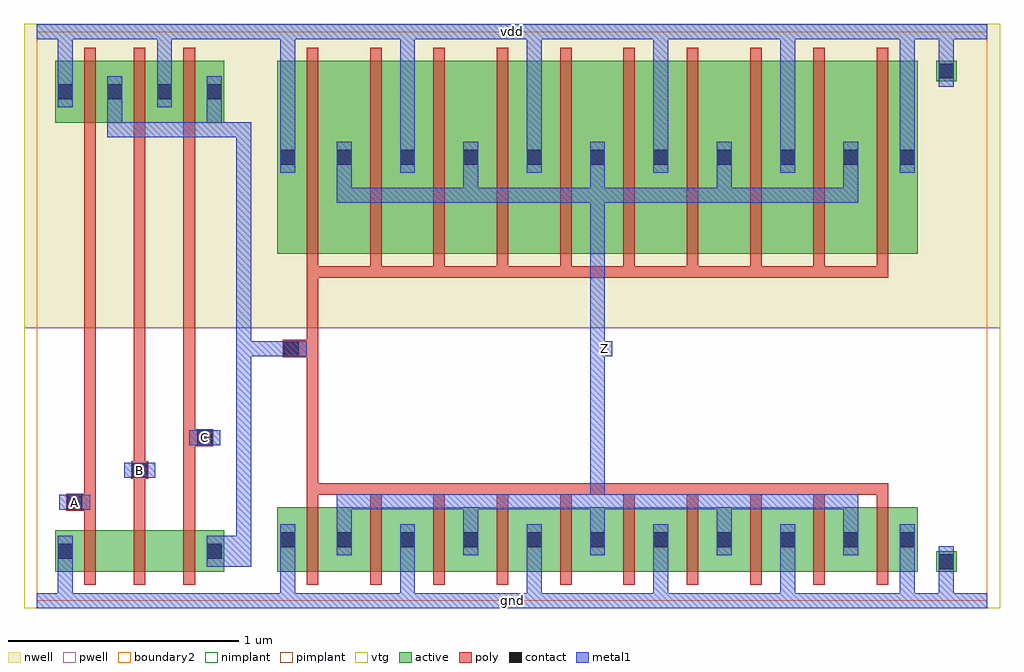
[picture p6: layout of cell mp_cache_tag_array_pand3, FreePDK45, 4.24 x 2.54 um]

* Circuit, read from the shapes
.subckt mp_cache_tag_array_pand3 A B C Z gnd vdd
M1 mp_cache_tag_array_pnand3_0_0/mp_cache_tag_array_nmos_m1_w0_180_sm1_dactive_3/D A gnd gnd nfet w=0.18u l=0.05u
M2 mp_cache_tag_array_pnand3_0_0/mp_cache_tag_array_nmos_m1_w0_180_sactive_dactive_4/D B mp_cache_tag_array_pnand3_0_0/mp_cache_tag_array_nmos_m1_w0_180_sm1_dactive_3/D gnd nfet w=0.18u l=0.05u
M3 mp_cache_tag_array_pdriver_2_1/A C mp_cache_tag_array_pnand3_0_0/mp_cache_tag_array_nmos_m1_w0_180_sactive_dactive_4/D gnd nfet w=0.18u l=0.05u
M4 Z mp_cache_tag_array_pdriver_2_1/A gnd gnd nfet w=0.28u l=0.05u m=10
M5 mp_cache_tag_array_pdriver_2_1/A A vdd vdd pfet w=0.27u l=0.05u
M6 vdd B mp_cache_tag_array_pdriver_2_1/A vdd pfet w=0.27u l=0.05u
M7 mp_cache_tag_array_pdriver_2_1/A C vdd vdd pfet w=0.27u l=0.05u
M8 Z mp_cache_tag_array_pdriver_2_1/A vdd vdd pfet w=0.8375u l=0.05u m=10
.ends

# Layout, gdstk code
import gdstk
lib = gdstk.Library(unit=1e-6, precision=5e-10)
def R(c, l, rs):  # rectangles x0, y0, x1, y1
    for r in rs: c.add(gdstk.rectangle(r[:2], r[2:], *l))
def A(c, l, x, y, w, h, nx, ny, dx, dy):  # array of equal rectangles
    R(c, l, [(x+i*dx, y+j*dy, x+i*dx+w, y+j*dy+h) for i in range(nx) for j in range(ny)])
active = (1, 0)
pwell = (2, 0)
nwell = (3, 0)
nimplant = (4, 0)
pimplant = (5, 0)
vtg = (6, 0)
poly = (9, 0)
contact = (10, 0)
metal1 = (11, 0)
boundary2 = (239, 0)

mp_cache_tag_array_conta = lib.new_cell('mp_cache_tag_array_contact_11')
R(mp_cache_tag_array_conta, active, [(0,0.0225,0.09,0.1125)])
R(mp_cache_tag_array_conta, nwell, [(-0.055,-0.0325,0.145,0.1675)])
R(mp_cache_tag_array_conta, pimplant, [(0,0.0225,0.09,0.1125)])
R(mp_cache_tag_array_conta, contact, [(0.0125,0.035,0.0775,0.1)])
R(mp_cache_tag_array_conta, metal1, [(0.0125,0,0.0775,0.135)])
R(mp_cache_tag_array_conta, boundary2, [(-0.055,-0.0325,0.145,0.1675)])

mp_cache_tag_array_pmos_ = lib.new_cell('mp_cache_tag_array_pmos_m1_w0_270_sm1_dm1')
R(mp_cache_tag_array_pmos_, active, [(0,0,0.305,0.27)])
R(mp_cache_tag_array_pmos_, nwell, [(-0.08,-0.08,0.385,0.35)])
R(mp_cache_tag_array_pmos_, pimplant, [(0,0,0.305,0.27)])
R(mp_cache_tag_array_pmos_, vtg, [(-0.08,-0.08,0.385,0.35)])
R(mp_cache_tag_array_pmos_, poly, [(0.1275,-0.055,0.1775,0.325), (0.1275,-0.055,0.1775,0.325)])
R(mp_cache_tag_array_pmos_, metal1, [(0.0125,0.0675,0.0775,0.2025), (0.2275,0.0675,0.2925,0.2025)])
R(mp_cache_tag_array_pmos_, boundary2, [(-0.08,-0.08,0.385,0.35)])
mp_cache_tag_array_pmos_.add(gdstk.Reference(mp_cache_tag_array_conta, (0,0.0675)))
mp_cache_tag_array_pmos_.add(gdstk.Reference(mp_cache_tag_array_conta, (0.215,0.0675)))
mp_cache_tag_array_pmos_.add(gdstk.Label('G', (0.1525,0.135), layer=9, texttype=0))
mp_cache_tag_array_pmos_.add(gdstk.Label('S', (0.045,0.135), layer=11, texttype=0))
mp_cache_tag_array_pmos_.add(gdstk.Label('D', (0.26,0.135), layer=11, texttype=0))

c_mp_cache_tag_array_conta = lib.new_cell('mp_cache_tag_array_contact_10')
R(c_mp_cache_tag_array_conta, active, [(0,0.0225,0.09,0.1125)])
R(c_mp_cache_tag_array_conta, pwell, [(-0.055,-0.0325,0.145,0.1675)])
R(c_mp_cache_tag_array_conta, nimplant, [(0,0.0225,0.09,0.1125)])
R(c_mp_cache_tag_array_conta, contact, [(0.0125,0.035,0.0775,0.1)])
R(c_mp_cache_tag_array_conta, metal1, [(0.0125,0,0.0775,0.135)])
R(c_mp_cache_tag_array_conta, boundary2, [(-0.055,-0.0325,0.145,0.1675)])

mp_cache_tag_array_nmos_ = lib.new_cell('mp_cache_tag_array_nmos_m1_w0_180_sm1_dactive')
R(mp_cache_tag_array_nmos_, active, [(0,0,0.305,0.18), (0.215,0.045,0.305,0.135)])
R(mp_cache_tag_array_nmos_, pwell, [(-0.08,-0.08,0.385,0.26)])
R(mp_cache_tag_array_nmos_, nimplant, [(0,0,0.305,0.18)])
R(mp_cache_tag_array_nmos_, vtg, [(-0.08,-0.08,0.385,0.26)])
R(mp_cache_tag_array_nmos_, poly, [(0.1275,-0.055,0.1775,0.235), (0.1275,-0.055,0.1775,0.235)])
R(mp_cache_tag_array_nmos_, metal1, [(0.0125,0.0225,0.0775,0.1575)])
R(mp_cache_tag_array_nmos_, boundary2, [(-0.08,-0.08,0.385,0.26)])
mp_cache_tag_array_nmos_.add(gdstk.Reference(c_mp_cache_tag_array_conta, (0,0.0225)))
mp_cache_tag_array_nmos_.add(gdstk.Label('G', (0.1525,0.09), layer=9, texttype=0))
mp_cache_tag_array_nmos_.add(gdstk.Label('S', (0.045,0.09), layer=11, texttype=0))
mp_cache_tag_array_nmos_.add(gdstk.Label('D', (0.26,0.09), layer=1, texttype=0))

c_mp_cache_tag_array_nmos_ = lib.new_cell('mp_cache_tag_array_nmos_m1_w0_180_sactive_dactive')
R(c_mp_cache_tag_array_nmos_, active, [(0,0,0.305,0.18), (0,0.045,0.09,0.135), (0.215,0.045,0.305,0.135)])
R(c_mp_cache_tag_array_nmos_, pwell, [(-0.08,-0.08,0.385,0.26)])
R(c_mp_cache_tag_array_nmos_, nimplant, [(0,0,0.305,0.18)])
R(c_mp_cache_tag_array_nmos_, vtg, [(-0.08,-0.08,0.385,0.26)])
R(c_mp_cache_tag_array_nmos_, poly, [(0.1275,-0.055,0.1775,0.235), (0.1275,-0.055,0.1775,0.235)])
R(c_mp_cache_tag_array_nmos_, boundary2, [(-0.08,-0.08,0.385,0.26)])
c_mp_cache_tag_array_nmos_.add(gdstk.Label('G', (0.1525,0.09), layer=9, texttype=0))
c_mp_cache_tag_array_nmos_.add(gdstk.Label('S', (0.045,0.09), layer=1, texttype=0))
c_mp_cache_tag_array_nmos_.add(gdstk.Label('D', (0.26,0.09), layer=1, texttype=0))

c_mp_cache_tag_array_nmos__ = lib.new_cell('mp_cache_tag_array_nmos_m1_w0_180_sactive_dm1')
R(c_mp_cache_tag_array_nmos__, active, [(0,0,0.305,0.18), (0,0.045,0.09,0.135)])
R(c_mp_cache_tag_array_nmos__, pwell, [(-0.08,-0.08,0.385,0.26)])
R(c_mp_cache_tag_array_nmos__, nimplant, [(0,0,0.305,0.18)])
R(c_mp_cache_tag_array_nmos__, vtg, [(-0.08,-0.08,0.385,0.26)])
R(c_mp_cache_tag_array_nmos__, poly, [(0.1275,-0.055,0.1775,0.235), (0.1275,-0.055,0.1775,0.235)])
R(c_mp_cache_tag_array_nmos__, metal1, [(0.2275,0.0225,0.2925,0.1575)])
R(c_mp_cache_tag_array_nmos__, boundary2, [(-0.08,-0.08,0.385,0.26)])
c_mp_cache_tag_array_nmos__.add(gdstk.Reference(c_mp_cache_tag_array_conta, (0.215,0.0225)))
c_mp_cache_tag_array_nmos__.add(gdstk.Label('G', (0.1525,0.09), layer=9, texttype=0))
c_mp_cache_tag_array_nmos__.add(gdstk.Label('S', (0.045,0.09), layer=1, texttype=0))
c_mp_cache_tag_array_nmos__.add(gdstk.Label('D', (0.26,0.09), layer=11, texttype=0))

c_mp_cache_tag_array_conta_ = lib.new_cell('mp_cache_tag_array_contact_14')
R(c_mp_cache_tag_array_conta_, poly, [(0.03,0,0.105,0.075)])
R(c_mp_cache_tag_array_conta_, contact, [(0.035,0.005,0.1,0.07)])
R(c_mp_cache_tag_array_conta_, metal1, [(0,0.005,0.135,0.07)])
R(c_mp_cache_tag_array_conta_, boundary2, [(0,0,0.135,0.075)])

mp_cache_tag_array_pnand = lib.new_cell('mp_cache_tag_array_pnand3_0')
R(mp_cache_tag_array_pnand, pwell, [(-0.055,-0.0325,1.02,1.185)])
R(mp_cache_tag_array_pnand, nwell, [(-0.055,1.185,1.02,2.505)])
R(mp_cache_tag_array_pnand, vtg, [(-0.055,-0.0325,1.02,1.185), (-0.055,1.185,1.02,2.505)])
A(mp_cache_tag_array_pnand, poly, 0.2075, 0.36, 0.05, 1.66, 3, 1, 0.215, 0)
R(mp_cache_tag_array_pnand, poly, [(0.165,0.39,0.2075,0.465), (0.4225,0.53,0.4475,0.605), (0.6375,0.67,0.73,0.745)])
R(mp_cache_tag_array_pnand, metal1, [(0,-0.0325,0.965,0.0325), (0.0925,-0.0325,0.1575,0.1475), (0.77,0.1475,0.9,0.2825), (0.8675,0.1475,0.9325,2.045), (0.0975,0.395,0.2325,0.46), (0.38,0.535,0.515,0.6), (0.6625,0.675,0.7975,0.74), (0.3075,2.0125,0.3725,2.0775), (0.34,2.0125,0.9,2.0775), (0.7375,2.0125,0.8025,2.0775), (0.77,2.0125,0.9,2.0775), (0.8675,2.0125,0.9325,2.0775), (0.3075,2.045,0.3725,2.21), (0.7375,2.045,0.8025,2.21), (0.0925,2.1425,0.1575,2.5025), (0.5225,2.1425,0.5875,2.5025), (0,2.4375,0.965,2.5025)])
R(mp_cache_tag_array_pnand, boundary2, [(0,0,0.965,2.47), (0,0,0.965,2.47)])
mp_cache_tag_array_pnand.add(gdstk.Reference(mp_cache_tag_array_pmos_, (0.08,2.075)))
mp_cache_tag_array_pnand.add(gdstk.Reference(mp_cache_tag_array_pmos_, (0.295,2.075)))
mp_cache_tag_array_pnand.add(gdstk.Reference(mp_cache_tag_array_pmos_, (0.51,2.075)))
mp_cache_tag_array_pnand.add(gdstk.Reference(mp_cache_tag_array_nmos_, (0.08,0.125)))
mp_cache_tag_array_pnand.add(gdstk.Reference(c_mp_cache_tag_array_nmos_, (0.295,0.125)))
mp_cache_tag_array_pnand.add(gdstk.Reference(c_mp_cache_tag_array_nmos__, (0.51,0.125)))
mp_cache_tag_array_pnand.add(gdstk.Reference(c_mp_cache_tag_array_conta_, (0.0975,0.39)))
mp_cache_tag_array_pnand.add(gdstk.Reference(c_mp_cache_tag_array_conta_, (0.38,0.53)))
mp_cache_tag_array_pnand.add(gdstk.Reference(c_mp_cache_tag_array_conta_, (0.6625,0.67)))
mp_cache_tag_array_pnand.add(gdstk.Label('A', (0.165,0.4275), layer=11, texttype=0))
mp_cache_tag_array_pnand.add(gdstk.Label('B', (0.4475,0.5675), layer=11, texttype=0))
mp_cache_tag_array_pnand.add(gdstk.Label('C', (0.73,0.7075), layer=11, texttype=0))
mp_cache_tag_array_pnand.add(gdstk.Label('Z', (0.9,2.045), layer=11, texttype=0))
mp_cache_tag_array_pnand.add(gdstk.Label('gnd', (0.4825,0), layer=11, texttype=0))
mp_cache_tag_array_pnand.add(gdstk.Label('vdd', (0.4825,2.47), layer=11, texttype=0))

c_mp_cache_tag_array_pmos_ = lib.new_cell('mp_cache_tag_array_pmos_m10_w0_838_sm1_dm1_da_p')
R(c_mp_cache_tag_array_pmos_, active, [(0,0,2.78,0.8375)])
R(c_mp_cache_tag_array_pmos_, nwell, [(-0.08,-0.08,2.86,0.9175)])
R(c_mp_cache_tag_array_pmos_, pimplant, [(0,0,2.78,0.8375)])
R(c_mp_cache_tag_array_pmos_, vtg, [(-0.08,-0.08,2.86,0.9175)])
A(c_mp_cache_tag_array_pmos_, poly, 0.1275, -0.055, 0.05, 0.9475, 10, 1, 0.275, 0)
R(c_mp_cache_tag_array_pmos_, poly, [(0.1275,-0.105,2.6525,-0.055)])
A(c_mp_cache_tag_array_pmos_, metal1, 0.2575, 0.255, 0.065, 0.165, 5, 1, 0.55, 0)
A(c_mp_cache_tag_array_pmos_, metal1, 0.5325, 0.35, 0.065, 0.135, 4, 1, 0.55, 0)
R(c_mp_cache_tag_array_pmos_, metal1, [(0.2575,0.22,2.5225,0.285), (0.0125,0.35,0.0775,0.485), (2.7025,0.35,2.7675,0.485)])
R(c_mp_cache_tag_array_pmos_, boundary2, [(-0.08,-0.105,2.86,0.9175)])
c_mp_cache_tag_array_pmos_.add(gdstk.Reference(mp_cache_tag_array_conta, (0,0.35)))
c_mp_cache_tag_array_pmos_.add(gdstk.Reference(mp_cache_tag_array_conta, (0.245,0.35)))
c_mp_cache_tag_array_pmos_.add(gdstk.Reference(mp_cache_tag_array_conta, (0.52,0.35)))
c_mp_cache_tag_array_pmos_.add(gdstk.Reference(mp_cache_tag_array_conta, (0.795,0.35)))
c_mp_cache_tag_array_pmos_.add(gdstk.Reference(mp_cache_tag_array_conta, (1.07,0.35)))
c_mp_cache_tag_array_pmos_.add(gdstk.Reference(mp_cache_tag_array_conta, (1.345,0.35)))
c_mp_cache_tag_array_pmos_.add(gdstk.Reference(mp_cache_tag_array_conta, (1.62,0.35)))
c_mp_cache_tag_array_pmos_.add(gdstk.Reference(mp_cache_tag_array_conta, (1.895,0.35)))
c_mp_cache_tag_array_pmos_.add(gdstk.Reference(mp_cache_tag_array_conta, (2.17,0.35)))
c_mp_cache_tag_array_pmos_.add(gdstk.Reference(mp_cache_tag_array_conta, (2.445,0.35)))
c_mp_cache_tag_array_pmos_.add(gdstk.Reference(mp_cache_tag_array_conta, (2.69,0.35)))
c_mp_cache_tag_array_pmos_.add(gdstk.Label('G', (1.39,-0.08), layer=9, texttype=0))
c_mp_cache_tag_array_pmos_.add(gdstk.Label('S', (2.215,0.4175), layer=11, texttype=0))
c_mp_cache_tag_array_pmos_.add(gdstk.Label('S', (2.735,0.4175), layer=11, texttype=0))
c_mp_cache_tag_array_pmos_.add(gdstk.Label('S', (0.045,0.4175), layer=11, texttype=0))
c_mp_cache_tag_array_pmos_.add(gdstk.Label('S', (0.565,0.4175), layer=11, texttype=0))
c_mp_cache_tag_array_pmos_.add(gdstk.Label('S', (1.115,0.4175), layer=11, texttype=0))
c_mp_cache_tag_array_pmos_.add(gdstk.Label('S', (1.665,0.4175), layer=11, texttype=0))
c_mp_cache_tag_array_pmos_.add(gdstk.Label('D', (1.39,0.2525), layer=11, texttype=0))

c_mp_cache_tag_array_nmos___ = lib.new_cell('mp_cache_tag_array_nmos_m10_w0_280_sm1_dm1_da_p')
R(c_mp_cache_tag_array_nmos___, active, [(0,0,2.78,0.28)])
R(c_mp_cache_tag_array_nmos___, pwell, [(-0.08,-0.08,2.86,0.36)])
R(c_mp_cache_tag_array_nmos___, nimplant, [(0,0,2.78,0.28)])
R(c_mp_cache_tag_array_nmos___, vtg, [(-0.08,-0.08,2.86,0.36)])
A(c_mp_cache_tag_array_nmos___, poly, 0.1275, -0.055, 0.05, 0.39, 10, 1, 0.275, 0)
R(c_mp_cache_tag_array_nmos___, poly, [(0.1275,0.335,2.6525,0.385)])
A(c_mp_cache_tag_array_nmos___, metal1, 0.5325, 0.0725, 0.065, 0.135, 4, 1, 0.55, 0)
A(c_mp_cache_tag_array_nmos___, metal1, 0.2575, 0.14, 0.065, 0.165, 5, 1, 0.55, 0)
R(c_mp_cache_tag_array_nmos___, metal1, [(0.0125,0.0725,0.0775,0.2075), (2.7025,0.0725,2.7675,0.2075), (0.2575,0.2725,2.5225,0.3375)])
R(c_mp_cache_tag_array_nmos___, boundary2, [(-0.08,-0.08,2.86,0.385)])
c_mp_cache_tag_array_nmos___.add(gdstk.Reference(c_mp_cache_tag_array_conta, (0,0.0725)))
c_mp_cache_tag_array_nmos___.add(gdstk.Reference(c_mp_cache_tag_array_conta, (0.245,0.0725)))
c_mp_cache_tag_array_nmos___.add(gdstk.Reference(c_mp_cache_tag_array_conta, (0.52,0.0725)))
c_mp_cache_tag_array_nmos___.add(gdstk.Reference(c_mp_cache_tag_array_conta, (0.795,0.0725)))
c_mp_cache_tag_array_nmos___.add(gdstk.Reference(c_mp_cache_tag_array_conta, (1.07,0.0725)))
c_mp_cache_tag_array_nmos___.add(gdstk.Reference(c_mp_cache_tag_array_conta, (1.345,0.0725)))
c_mp_cache_tag_array_nmos___.add(gdstk.Reference(c_mp_cache_tag_array_conta, (1.62,0.0725)))
c_mp_cache_tag_array_nmos___.add(gdstk.Reference(c_mp_cache_tag_array_conta, (1.895,0.0725)))
c_mp_cache_tag_array_nmos___.add(gdstk.Reference(c_mp_cache_tag_array_conta, (2.17,0.0725)))
c_mp_cache_tag_array_nmos___.add(gdstk.Reference(c_mp_cache_tag_array_conta, (2.445,0.0725)))
c_mp_cache_tag_array_nmos___.add(gdstk.Reference(c_mp_cache_tag_array_conta, (2.69,0.0725)))
c_mp_cache_tag_array_nmos___.add(gdstk.Label('G', (1.39,0.36), layer=9, texttype=0))
c_mp_cache_tag_array_nmos___.add(gdstk.Label('S', (2.215,0.14), layer=11, texttype=0))
c_mp_cache_tag_array_nmos___.add(gdstk.Label('S', (1.665,0.14), layer=11, texttype=0))
c_mp_cache_tag_array_nmos___.add(gdstk.Label('S', (0.565,0.14), layer=11, texttype=0))
c_mp_cache_tag_array_nmos___.add(gdstk.Label('S', (0.045,0.14), layer=11, texttype=0))
c_mp_cache_tag_array_nmos___.add(gdstk.Label('S', (1.115,0.14), layer=11, texttype=0))
c_mp_cache_tag_array_nmos___.add(gdstk.Label('S', (2.735,0.14), layer=11, texttype=0))
c_mp_cache_tag_array_nmos___.add(gdstk.Label('D', (1.39,0.305), layer=11, texttype=0))

c_mp_cache_tag_array_conta__ = lib.new_cell('mp_cache_tag_array_contact_12')
R(c_mp_cache_tag_array_conta__, active, [(0,0.0225,0.09,0.1125)])
R(c_mp_cache_tag_array_conta__, nwell, [(-0.055,-0.0325,0.145,0.1675)])
R(c_mp_cache_tag_array_conta__, nimplant, [(0,0.0225,0.09,0.1125)])
R(c_mp_cache_tag_array_conta__, contact, [(0.0125,0.035,0.0775,0.1)])
R(c_mp_cache_tag_array_conta__, metal1, [(0.0125,0,0.0775,0.135)])
R(c_mp_cache_tag_array_conta__, boundary2, [(-0.055,-0.0325,0.145,0.1675)])

c_mp_cache_tag_array_conta___ = lib.new_cell('mp_cache_tag_array_contact_13')
R(c_mp_cache_tag_array_conta___, active, [(0,0.0225,0.09,0.1125)])
R(c_mp_cache_tag_array_conta___, pwell, [(-0.055,-0.0325,0.145,0.1675)])
R(c_mp_cache_tag_array_conta___, pimplant, [(0,0.0225,0.09,0.1125)])
R(c_mp_cache_tag_array_conta___, contact, [(0.0125,0.035,0.0775,0.1)])
R(c_mp_cache_tag_array_conta___, metal1, [(0.0125,0,0.0775,0.135)])
R(c_mp_cache_tag_array_conta___, boundary2, [(-0.055,-0.0325,0.145,0.1675)])

mp_cache_tag_array_pinv_ = lib.new_cell('mp_cache_tag_array_pinv_12')
R(mp_cache_tag_array_pinv_, pwell, [(-0.055,-0.0325,3.2175,1.185)])
R(mp_cache_tag_array_pinv_, nwell, [(-0.055,1.185,3.2175,2.505)])
R(mp_cache_tag_array_pinv_, vtg, [(-0.055,-0.0325,3.2175,1.185), (-0.055,1.185,3.2175,2.505)])
R(mp_cache_tag_array_pinv_, poly, [(0.2075,0.51,0.2575,1.4025), (0.14,1.0575,0.2075,1.1325)])
A(mp_cache_tag_array_pinv_, metal1, 0.6125, -0.0325, 0.065, 0.23, 4, 1, 0.55, 0)
A(mp_cache_tag_array_pinv_, metal1, 0.6125, 1.8575, 0.065, 0.645, 4, 1, 0.55, 0)
R(mp_cache_tag_array_pinv_, metal1, [(0,-0.0325,3.1625,0.0325), (0.0925,-0.0325,0.1575,0.1975), (2.7825,-0.0325,2.8475,0.1975), (2.9525,0,3.0175,0.17), (1.4375,0.3975,1.5025,1.7925), (0.0725,1.0625,0.2075,1.1275), (1.47,1.0625,1.535,1.1275), (0.0925,1.8575,0.1575,2.5025), (2.7825,1.8575,2.8475,2.5025), (2.9525,2.3,3.0175,2.47), (0,2.4375,3.1625,2.5025)])
R(mp_cache_tag_array_pinv_, boundary2, [(0,0,3.1625,2.47), (0,0,3.1625,2.47)])
mp_cache_tag_array_pinv_.add(gdstk.Reference(c_mp_cache_tag_array_pmos_, (0.08,1.5075)))
mp_cache_tag_array_pinv_.add(gdstk.Reference(c_mp_cache_tag_array_nmos___, (0.08,0.125)))
mp_cache_tag_array_pinv_.add(gdstk.Reference(c_mp_cache_tag_array_conta__, (2.94,2.2325)))
mp_cache_tag_array_pinv_.add(gdstk.Reference(c_mp_cache_tag_array_conta___, (2.94,0.1025)))
mp_cache_tag_array_pinv_.add(gdstk.Reference(c_mp_cache_tag_array_conta_, (0.0725,1.0575)))
mp_cache_tag_array_pinv_.add(gdstk.Label('A', (0.14,1.095), layer=11, texttype=0))
mp_cache_tag_array_pinv_.add(gdstk.Label('Z', (1.5025,1.095), layer=11, texttype=0))
mp_cache_tag_array_pinv_.add(gdstk.Label('gnd', (1.581,0), layer=11, texttype=0))
mp_cache_tag_array_pinv_.add(gdstk.Label('vdd', (1.581,2.47), layer=11, texttype=0))

mp_cache_tag_array_pdriv = lib.new_cell('mp_cache_tag_array_pdriver_2')
R(mp_cache_tag_array_pdriv, pwell, [(-0.055,-0.0325,3.2175,1.185)])
R(mp_cache_tag_array_pdriv, nwell, [(-0.055,1.185,3.2175,2.505)])
R(mp_cache_tag_array_pdriv, vtg, [(-0.055,-0.0325,3.2175,1.185), (-0.055,1.185,3.2175,2.505)])
R(mp_cache_tag_array_pdriv, metal1, [(0,-0.0325,3.1625,0.0325), (0.0725,1.0625,0.2075,1.1275), (1.47,1.0625,1.535,1.1275), (0,2.4375,3.1625,2.5025)])
R(mp_cache_tag_array_pdriv, boundary2, [(0,0,3.1625,2.47), (0,0,3.1625,2.47)])
mp_cache_tag_array_pdriv.add(gdstk.Reference(mp_cache_tag_array_pinv_, (0,0)))
mp_cache_tag_array_pdriv.add(gdstk.Label('Z', (1.5025,1.095), layer=11, texttype=0))
mp_cache_tag_array_pdriv.add(gdstk.Label('A', (0.14,1.095), layer=11, texttype=0))
mp_cache_tag_array_pdriv.add(gdstk.Label('gnd', (1.581,0), layer=11, texttype=0))
mp_cache_tag_array_pdriv.add(gdstk.Label('vdd', (1.581,2.47), layer=11, texttype=0))

mp_cache_tag_array_pand3 = lib.new_cell('mp_cache_tag_array_pand3')
R(mp_cache_tag_array_pand3, metal1, [(0,-0.0325,4.1275,0.0325), (0.0975,0.395,0.2325,0.46), (0.38,0.535,0.515,0.6), (0.6625,0.675,0.7975,0.74), (0.8675,1.0625,0.9325,1.1275), (0.9,1.0625,1.105,1.1275), (2.435,1.0625,2.5,1.1275), (0.8675,1.095,0.9325,2.045), (0,2.4375,4.1275,2.5025)])
R(mp_cache_tag_array_pand3, boundary2, [(0,0,4.1275,2.47), (0,0,4.1275,2.47)])
mp_cache_tag_array_pand3.add(gdstk.Reference(mp_cache_tag_array_pnand, (0,0)))
mp_cache_tag_array_pand3.add(gdstk.Reference(mp_cache_tag_array_pdriv, (0.965,0)))
mp_cache_tag_array_pand3.add(gdstk.Label('Z', (2.4675,1.095), layer=11, texttype=0))
mp_cache_tag_array_pand3.add(gdstk.Label('A', (0.165,0.4275), layer=11, texttype=0))
mp_cache_tag_array_pand3.add(gdstk.Label('B', (0.4475,0.5675), layer=11, texttype=0))
mp_cache_tag_array_pand3.add(gdstk.Label('C', (0.73,0.7075), layer=11, texttype=0))
mp_cache_tag_array_pand3.add(gdstk.Label('gnd', (2.064,0), layer=11, texttype=0))
mp_cache_tag_array_pand3.add(gdstk.Label('vdd', (2.064,2.47), layer=11, texttype=0))

lib.write_gds('mp_cache_tag_array_pand3.gds')
